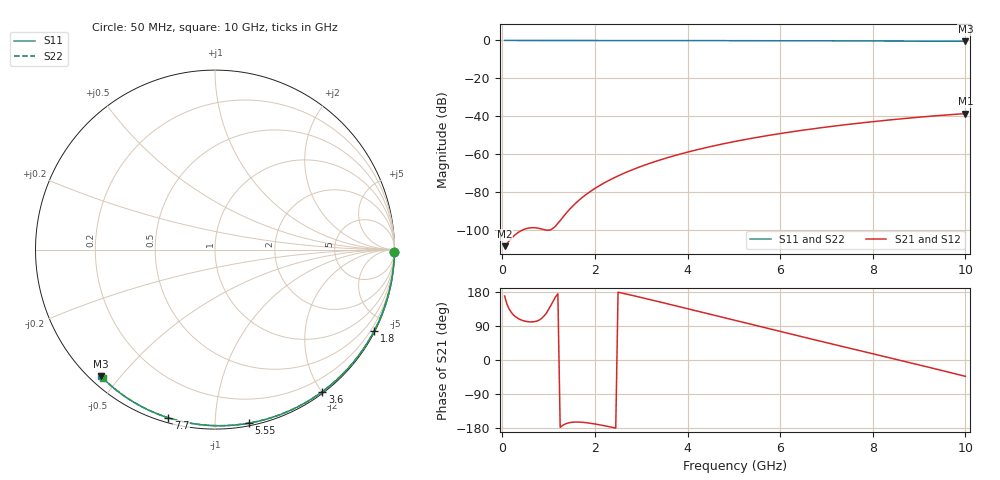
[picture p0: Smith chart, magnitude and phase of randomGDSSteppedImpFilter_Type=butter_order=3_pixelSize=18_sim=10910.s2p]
! freq	dB(S11)	phase(S11)	dB(S12)	phase(S12)
!  dB(S21)	phase(S21)	dB(S22)	phase(S22)
!S-par simulation data
#  GHz  S  DB  R 50
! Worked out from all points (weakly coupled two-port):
!   200 points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, 50 MHz to 10 GHz, reference 50 ohm
!   highest |S21| = -38.56 dB at 10 GHz (marker M1); lowest = -108.4 dB at 50 MHz (marker M2)
!   lowest |S11| = -0.5 dB at 10 GHz (marker M3), VSWR 38.45, Z = 1.56 - j22.2 ohm
!   |S11| at or under -10 dB: nowhere
!   |S22| runs from -0.4 to 0.0 dB; largest |S21 - S12| = 0
!   S11 on the Smith chart (normalised r, x): 50 MHz: open; 1.8 GHz: 0.04, -4.15; 3.6 GHz: 0.02, -2.01; 5.55 GHz: 0.02, -1.21; 7.7 GHz: 0.02, -0.76; 10 GHz: 0.03, -0.44
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0.05  -0.00 -0.8  -108.41 168.9  -108.41 168.9  -0.00 -0.8
0.9  -0.02 -13.7  -99.70 116.0  -99.70 116.0  -0.02 -13.6
1.75  -0.03 -26.3  -82.30 -164.6  -82.30 -164.6  -0.03 -26.1
1.8  -0.03 -27.1  -81.36 -165.3  -81.36 -165.3  -0.03 -26.9
1.85  -0.04 -27.8  -80.47 -166.0  -80.47 -166.0  -0.04 -27.6
1.9  -0.04 -28.6  -79.61 -166.9  -79.61 -166.9  -0.04 -28.3
2.05  -0.04 -30.8  -77.23 -169.9  -77.23 -169.9  -0.04 -30.5
2.25  -0.04 -33.7  -74.43 -174.5  -74.43 -174.5  -0.04 -33.4
2.45  -0.05 -36.6  -71.96 -179.7  -71.96 -179.7  -0.05 -36.3
2.65  -0.05 -39.5  -69.74 174.9  -69.74 174.9  -0.05 -39.2
3  -0.06 -44.5  -66.35 164.9  -66.35 164.9  -0.06 -44.1
3.4  -0.07 -50.1  -63.02 153.2  -63.02 153.2  -0.07 -49.8
3.6  -0.07 -52.9  -61.54 147.3  -61.54 147.3  -0.07 -52.5
4.3  -0.09 -62.6  -57.03 126.4  -57.03 126.4  -0.09 -62.1
5.05  -0.11 -72.6  -53.10 103.9  -53.10 103.9  -0.11 -72.0
5.55  -0.13 -79.1  -50.86 88.8  -50.86 88.8  -0.13 -78.5
6.1  -0.15 -86.1  -48.68 72.4  -48.68 72.4  -0.15 -85.4
6.7  -0.18 -93.5  -46.59 54.6  -46.59 54.6  -0.18 -92.8
7.7  -0.24 -105.6  -43.59 25.2  -43.59 25.2  -0.24 -104.8
8.35  -0.29 -113.2  -41.92 6.2  -41.92 6.2  -0.29 -112.4
9.15  -0.36 -122.4  -40.11 -17.4  -40.11 -17.4  -0.36 -121.5
10  -0.45 -132.0  -38.56 -43.1  -38.56 -43.1  -0.45 -131.1
